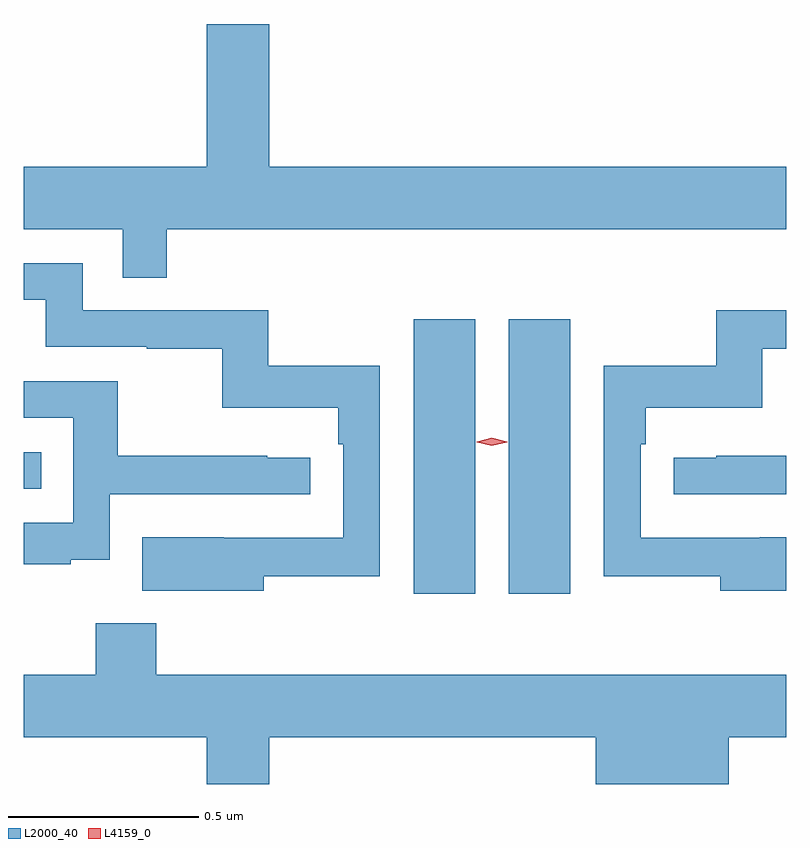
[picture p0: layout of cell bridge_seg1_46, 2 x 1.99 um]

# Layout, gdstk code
import gdstk
lib = gdstk.Library(unit=1e-6, precision=1e-09)
def R(c, l, rs):  # rectangles x0, y0, x1, y1
    for r in rs: c.add(gdstk.rectangle(r[:2], r[2:], *l))
def P(c, l, *ps):  # polygons
    for p in ps: c.add(gdstk.Polygon(p, *l))
L2000_40 = (2000, 40)
L4159_0 = (4159, 0)

bridge_seg1_46 = lib.new_cell('bridge_seg1_46')
R(bridge_seg1_46, L2000_40, [(956.759,566.76,956.92,567.481), (957.008,566.76,957.169,567.481), (955.736,567.036,955.781,567.132)])
P(bridge_seg1_46, L2000_40, [(956.111,567.716),(957.736,567.716),(957.736,567.88),(956.38,567.88),(956.38,568.255),(956.216,568.255),(956.216,567.88),(955.736,567.88),(955.736,567.716),(955.995,567.716),(955.995,567.589),(956.111,567.589)],
  [(956.365,566.806),(956.67,566.806),(956.67,567.358),(956.377,567.358),(956.377,567.504),(955.89,567.504),(955.89,567.627),(955.736,567.627),(955.736,567.531),(955.794,567.531),(955.794,567.408),(956.059,567.408),(956.059,567.403),(956.256,567.403),(956.256,567.248),(956.561,567.248),(956.561,567.152),(956.574,567.152),(956.574,566.907),(956.261,566.907),(956.261,566.908),(956.047,566.908),(956.047,566.768),(956.365,566.768)],
  [(957.736,566.908),(957.667,566.908),(957.667,566.907),(957.354,566.907),(957.354,567.152),(957.368,567.152),(957.368,567.248),(957.673,567.248),(957.673,567.403),(957.736,567.403),(957.736,567.504),(957.552,567.504),(957.552,567.358),(957.258,567.358),(957.258,566.806),(957.563,566.806),(957.563,566.768),(957.736,566.768)],
  [(955.859,566.849),(955.962,566.849),(955.962,567.021),(956.488,567.021),(956.488,567.117),(956.375,567.117),(956.375,567.122),(955.982,567.122),(955.982,567.318),(955.736,567.318),(955.736,567.222),(955.866,567.222),(955.866,566.946),(955.736,566.946),(955.736,566.838),(955.859,566.838)],
  [(957.736,567.122),(957.553,567.122),(957.553,567.117),(957.441,567.117),(957.441,567.021),(957.736,567.021)],
  [(956.38,566.384),(957.236,566.384),(957.236,566.261),(957.586,566.261),(957.586,566.384),(957.736,566.384),(957.736,566.548),(956.084,566.548),(956.084,566.683),(955.924,566.683),(955.924,566.548),(955.736,566.548),(955.736,566.384),(956.216,566.384),(956.216,566.261),(956.38,566.261)])
P(bridge_seg1_46, L4159_0, [(956.964,567.149),(956.924,567.158),(956.924,567.159),(956.924,567.159),(956.964,567.169),(957.004,567.159),(957.004,567.159),(957.004,567.158)])

lib.write_gds('bridge_seg1_46.gds')
